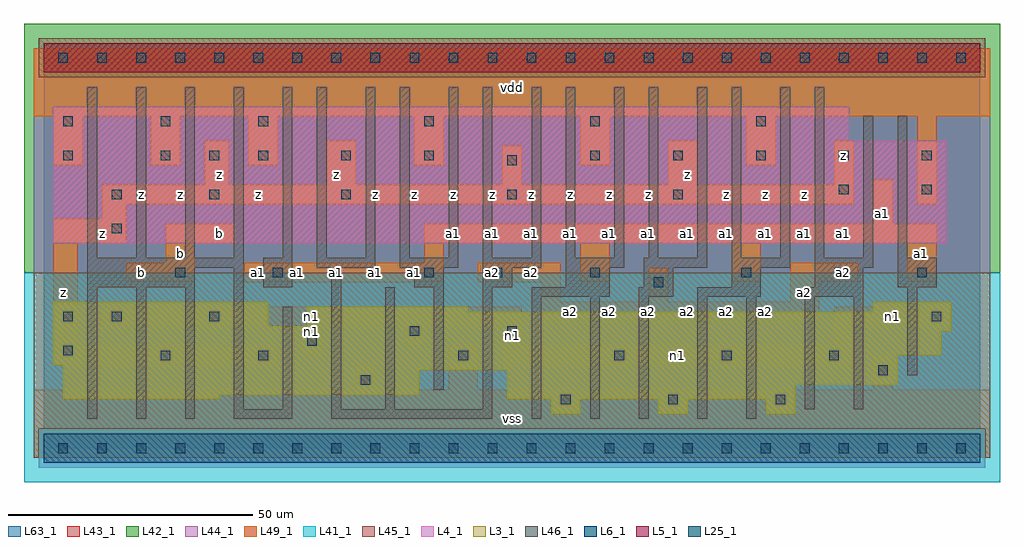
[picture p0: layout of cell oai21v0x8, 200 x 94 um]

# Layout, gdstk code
import gdstk
lib = gdstk.Library(unit=1e-6, precision=1e-09)
def R(c, l, rs):  # rectangles x0, y0, x1, y1
    for r in rs: c.add(gdstk.rectangle(r[:2], r[2:], *l))
def A(c, l, x, y, w, h, nx, ny, dx, dy):  # array of equal rectangles
    R(c, l, [(x+i*dx, y+j*dy, x+i*dx+w, y+j*dy+h) for i in range(nx) for j in range(ny)])
L3_1 = (3, 1)
L4_1 = (4, 1)
L5_1 = (5, 1)
L6_1 = (6, 1)
L25_1 = (25, 1)
L41_1 = (41, 1)
L42_1 = (42, 1)
L43_1 = (43, 1)
L44_1 = (44, 1)
L45_1 = (45, 1)
L46_1 = (46, 1)
L49_1 = (49, 1)
L63_1 = (63, 1)

oai21v0x8 = lib.new_cell('oai21v0x8')
A(oai21v0x8, L3_1, 104, 7, 6, 3, 3, 1, 22, 0)
R(oai21v0x8, L3_1, [(4,10,36,11), (95,10,154,13), (4,11,77,16), (95,13,175,16), (4,16,175,17), (2,17,175,19), (2,19,184,24), (2,24,186,25), (2,25,46,30), (54,25,186,28), (54,28,87,29), (170,28,186,30)])
R(oai21v0x8, L4_1, [(2,42,185,63), (2,63,165,70)])
R(oai21v0x8, L5_1, [(0,77,192,83)])
R(oai21v0x8, L6_1, [(0,-3,192,3), (0,-3,192,3)])
A(oai21v0x8, L25_1, 3, -1, 2, 2, 24, 2, 8, 80)
A(oai21v0x8, L25_1, 106, 9, 2, 2, 3, 1, 22, 0)
A(oai21v0x8, L25_1, 117, 18, 2, 2, 3, 1, 22, 0)
A(oai21v0x8, L25_1, 61, 51, 2, 2, 3, 1, 34, 0)
A(oai21v0x8, L25_1, 24, 59, 2, 2, 3, 1, 10, 0)
A(oai21v0x8, L25_1, 112, 59, 2, 2, 5, 1, 17, 0)
A(oai21v0x8, L25_1, 4, 66, 2, 2, 3, 1, 20, 0)
A(oai21v0x8, L25_1, 78, 66, 2, 2, 3, 1, 34, 0)
R(oai21v0x8, L25_1, [(65,13,67,15), (171,15,173,17), (24,18,26,20), (44,18,46,20), (85,18,87,20), (4,19,6,21), (54,21,56,23), (75,23,77,25), (95,23,97,25), (4,26,6,28), (14,26,16,28), (34,26,36,28), (182,26,184,28), (125,33,127,35), (27,35,29,37), (47,35,49,37), (78,35,80,37), (92,35,94,37), (112,35,114,37), (143,35,145,37), (162,35,164,37), (179,35,181,37), (14,44,16,46), (14,51,16,53), (34,51,36,53), (163,52,165,54), (180,52,182,54), (95,58,97,60), (4,59,6,61), (61,59,63,61), (78,59,80,61)])
R(oai21v0x8, L41_1, [(-4,-7,196,36)])
R(oai21v0x8, L42_1, [(-4,36,196,87)])
A(oai21v0x8, L43_1, 104, 7, 6, 3, 3, 1, 22, 0)
R(oai21v0x8, L43_1, [(0,-3,192,3), (4,10,36,11), (95,10,154,13), (4,11,77,16), (95,13,175,16), (4,16,175,17), (2,17,175,19), (2,19,184,24), (2,24,186,25), (2,25,46,30), (54,25,186,28), (54,28,87,29), (170,28,186,30), (2,42,185,63), (2,63,165,70), (0,77,192,83)])
R(oai21v0x8, L44_1, [(-1,-4,193,4), (-2,36,194,76), (-2,76,-1,82), (193,76,194,82)])
R(oai21v0x8, L45_1, [(-2,-2,-1,4), (193,-2,194,4), (-2,4,194,36), (-1,76,193,84)])
A(oai21v0x8, L46_1, 9, 6, 2, 27, 3, 1, 10, 0)
A(oai21v0x8, L46_1, 56, 37, 12, 2, 4, 1, 17, 0)
A(oai21v0x8, L46_1, 9, 39, 2, 35, 5, 1, 10, 0)
R(oai21v0x8, L46_1, [(39,6,51,8), (59,6,92,8), (100,6,102,31), (112,6,114,31), (122,6,124,31), (134,6,136,31), (144,6,146,31), (39,8,41,37), (49,8,51,29), (59,8,61,37), (70,8,72,33), (90,8,92,33), (156,8,158,31), (166,8,168,31), (80,12,82,33), (177,15,179,33), (100,31,116,33), (122,31,129,33), (134,31,147,33), (156,31,168,33), (9,33,31,37), (45,33,51,39), (76,33,82,37), (90,33,96,37), (107,33,116,37), (123,33,129,37), (141,33,147,37), (158,33,168,37), (175,33,183,39), (9,37,41,39), (123,37,136,39), (141,37,153,39), (158,37,170,39), (56,39,58,74), (66,39,68,74), (73,39,75,74), (83,39,85,74), (90,39,92,74), (100,39,102,74), (107,39,109,74), (117,39,119,74), (124,39,126,74), (134,39,136,74), (141,39,143,74), (151,39,153,74), (158,39,160,74), (168,39,170,68), (175,39,177,68)])
A(oai21v0x8, L49_1, 2, 58, 6, 10, 3, 1, 20, 0)
A(oai21v0x8, L49_1, 76, 58, 6, 10, 3, 1, 34, 0)
R(oai21v0x8, L49_1, [(-2,-2,194,12), (64,12,68,17), (83,12,89,21), (170,12,174,19), (2,17,48,21), (94,17,166,21), (53,19,57,25), (2,21,7,42), (74,21,78,25), (94,21,98,25), (162,21,166,25), (12,25,98,29), (162,25,186,29), (102,26,159,30), (102,30,106,34), (124,30,128,37), (153,30,159,34), (17,34,31,38), (41,34,82,38), (89,34,106,38), (110,34,116,42), (141,34,147,42), (153,34,167,38), (177,34,183,42), (25,38,31,42), (78,38,82,42), (2,42,17,47), (25,42,39,46), (78,42,183,46), (170,46,174,55), (12,47,17,50), (12,50,166,54), (179,50,183,68), (33,54,38,63), (58,54,64,63), (94,54,98,62), (128,54,134,63), (162,54,166,63), (-2,68,194,82)])
R(oai21v0x8, L63_1, [(0,0,192,80)])
oai21v0x8.add(gdstk.Label('z', (4,32), layer=49, texttype=1))
oai21v0x8.add(gdstk.Label('b', (20,36), layer=49, texttype=1))
oai21v0x8.add(gdstk.Label('z', (12,44), layer=49, texttype=1))
oai21v0x8.add(gdstk.Label('z', (20,52), layer=49, texttype=1))
oai21v0x8.add(gdstk.Label('n1', (55,24), layer=49, texttype=1))
oai21v0x8.add(gdstk.Label('a1', (60,36), layer=49, texttype=1))
oai21v0x8.add(gdstk.Label('a1', (52,36), layer=49, texttype=1))
oai21v0x8.add(gdstk.Label('a1', (44,36), layer=49, texttype=1))
oai21v0x8.add(gdstk.Label('b', (36,44), layer=49, texttype=1))
oai21v0x8.add(gdstk.Label('b', (28,40), layer=49, texttype=1))
oai21v0x8.add(gdstk.Label('z', (28,52), layer=49, texttype=1))
oai21v0x8.add(gdstk.Label('z', (44,52), layer=49, texttype=1))
oai21v0x8.add(gdstk.Label('z', (60,56), layer=49, texttype=1))
oai21v0x8.add(gdstk.Label('z', (36,56), layer=49, texttype=1))
oai21v0x8.add(gdstk.Label('a2', (92,36), layer=49, texttype=1))
oai21v0x8.add(gdstk.Label('a1', (76,36), layer=49, texttype=1))
oai21v0x8.add(gdstk.Label('a1', (68,36), layer=49, texttype=1))
oai21v0x8.add(gdstk.Label('a1', (92,44), layer=49, texttype=1))
oai21v0x8.add(gdstk.Label('a1', (84,44), layer=49, texttype=1))
oai21v0x8.add(gdstk.Label('z', (92,52), layer=49, texttype=1))
oai21v0x8.add(gdstk.Label('z', (84,52), layer=49, texttype=1))
oai21v0x8.add(gdstk.Label('z', (76,52), layer=49, texttype=1))
oai21v0x8.add(gdstk.Label('z', (68,52), layer=49, texttype=1))
oai21v0x8.add(gdstk.Label('vss', (96,6), layer=49, texttype=1))
oai21v0x8.add(gdstk.Label('a2', (124,28), layer=49, texttype=1))
oai21v0x8.add(gdstk.Label('a2', (116,28), layer=49, texttype=1))
oai21v0x8.add(gdstk.Label('a2', (108,28), layer=49, texttype=1))
oai21v0x8.add(gdstk.Label('n1', (96,23), layer=49, texttype=1))
oai21v0x8.add(gdstk.Label('n1', (55,27), layer=49, texttype=1))
oai21v0x8.add(gdstk.Label('a2', (100,36), layer=49, texttype=1))
oai21v0x8.add(gdstk.Label('a1', (124,44), layer=49, texttype=1))
oai21v0x8.add(gdstk.Label('a1', (116,44), layer=49, texttype=1))
oai21v0x8.add(gdstk.Label('a1', (108,44), layer=49, texttype=1))
oai21v0x8.add(gdstk.Label('a1', (100,44), layer=49, texttype=1))
oai21v0x8.add(gdstk.Label('z', (100,52), layer=49, texttype=1))
oai21v0x8.add(gdstk.Label('z', (124,52), layer=49, texttype=1))
oai21v0x8.add(gdstk.Label('z', (116,52), layer=49, texttype=1))
oai21v0x8.add(gdstk.Label('z', (108,52), layer=49, texttype=1))
oai21v0x8.add(gdstk.Label('vdd', (96,74), layer=49, texttype=1))
oai21v0x8.add(gdstk.Label('a2', (148,28), layer=49, texttype=1))
oai21v0x8.add(gdstk.Label('a2', (140,28), layer=49, texttype=1))
oai21v0x8.add(gdstk.Label('a2', (132,28), layer=49, texttype=1))
oai21v0x8.add(gdstk.Label('a2', (156,32), layer=49, texttype=1))
oai21v0x8.add(gdstk.Label('a1', (156,44), layer=49, texttype=1))
oai21v0x8.add(gdstk.Label('a1', (148,44), layer=49, texttype=1))
oai21v0x8.add(gdstk.Label('a1', (140,44), layer=49, texttype=1))
oai21v0x8.add(gdstk.Label('a1', (132,44), layer=49, texttype=1))
oai21v0x8.add(gdstk.Label('z', (156,52), layer=49, texttype=1))
oai21v0x8.add(gdstk.Label('z', (148,52), layer=49, texttype=1))
oai21v0x8.add(gdstk.Label('z', (140,52), layer=49, texttype=1))
oai21v0x8.add(gdstk.Label('z', (132,56), layer=49, texttype=1))
oai21v0x8.add(gdstk.Label('n1', (130,19), layer=49, texttype=1))
oai21v0x8.add(gdstk.Label('n1', (174,27), layer=49, texttype=1))
oai21v0x8.add(gdstk.Label('a2', (164,36), layer=49, texttype=1))
oai21v0x8.add(gdstk.Label('a1', (180,40), layer=49, texttype=1))
oai21v0x8.add(gdstk.Label('a1', (164,44), layer=49, texttype=1))
oai21v0x8.add(gdstk.Label('a1', (172,48), layer=49, texttype=1))
oai21v0x8.add(gdstk.Label('z', (164,60), layer=49, texttype=1))

lib.write_gds('oai21v0x8.gds')
